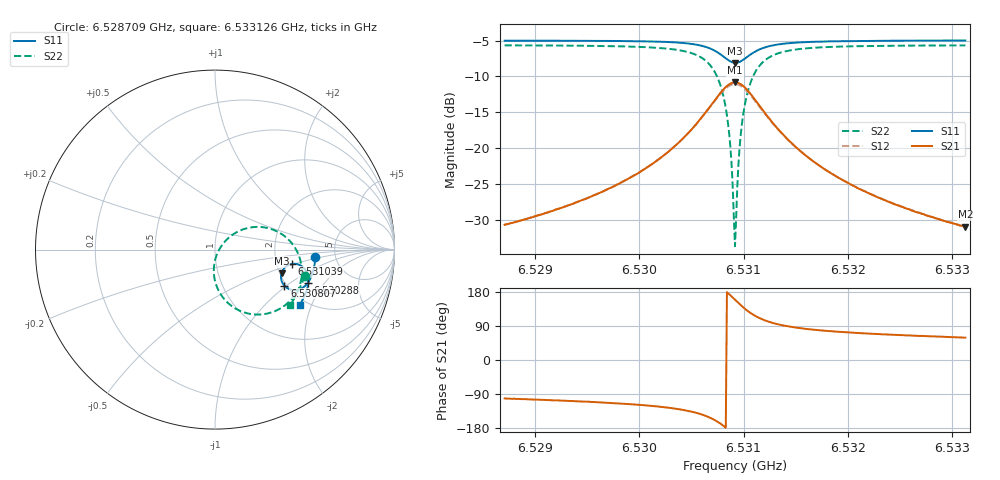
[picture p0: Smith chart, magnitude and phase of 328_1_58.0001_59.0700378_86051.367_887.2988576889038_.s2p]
#  HZ  S  RI  R  50.00
! Rohde & Schwarz Vector Network Analyzer
! Rohde-Schwarz,ZNB20-2Port,1311601062101988,3.16
! Created: UTC 3/21/2024, 1:04:58 AM
! freq[Hz]  re:S11  im:S11  re:S21  im:S21  re:S12  im:S12  re:S22  im:S22
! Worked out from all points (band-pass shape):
!   401 points, 6.528709 GHz to 6.533126 GHz, reference 50 ohm
!   highest |S21| = -10.82 dB at 6.530918 GHz (marker M1); lowest = -30.9 dB at 6.533126 GHz (marker M2)
!   |S21| within 3 dB of the highest: 6.530697 GHz to 6.531139 GHz (441.9 kHz wide, 0.00677 % of centre)
!   lowest |S11| = -8.1 dB at 6.530918 GHz (marker M3), VSWR 2.30, Z = 102 - j31.8 ohm
!   |S11| at or under -10 dB: nowhere
!   |S22| runs from -33.6 to -5.7 dB; largest |S21 - S12| = 0.011
!   S11 on the Smith chart (normalised r, x): 6.528709 GHz: 3.50, -0.43; 6.530288 GHz: 2.61, -1.38; 6.530807 GHz: 1.94, -0.97; 6.531039 GHz: 2.43, -0.48; 6.533126 GHz: 1.83, -1.65
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6.5287092e9  0.5599 -0.0419  -0.00575 -0.0287  -0.00636 -0.0285  0.5002 -0.1464
6.529449e9  0.5512 -0.1028  -0.0145 -0.0409  -0.0153 -0.0406  0.4717 -0.2135
6.5301888e9  0.5248 -0.1739  -0.0459 -0.0704  -0.0476 -0.0693  0.3953 -0.3063
6.5302882e9  0.5168 -0.1855  -0.0566 -0.0774  -0.0586 -0.0757  0.3724 -0.3228
6.5306415e9  0.4543 -0.2252  -0.1526 -0.0956  -0.1548 -0.0897  0.1898 -0.3573
6.5307409e9  0.4154 -0.2209  -0.2127 -0.0723  -0.2125 -0.0638  0.0868 -0.3097
6.5308072e9  0.3865 -0.2012  -0.2556 -0.028  -0.2517 -0.0188  0.02 -0.2286
6.5308624e9  0.3698 -0.1702  -0.2772 0.032  -0.2696 0.0395  -0.0066 -0.125
6.5308734e9  0.3685 -0.1627  -0.2783 0.0459  -0.27 0.0528  -0.00611 -0.1017
6.5308955e9  0.3678 -0.1471  -0.2765 0.0744  -0.2672 0.08  0.00143 -0.0546
6.5309065e9  0.3687 -0.1391  -0.2734 0.0889  -0.2639 0.0934  0.00875 -0.0317
6.5309176e9  0.3706 -0.1315  -0.2688 0.1028  -0.2592 0.1066  0.0185 -0.00944
6.5309286e9  0.3732 -0.1239  -0.263 0.1163  -0.2532 0.119  0.0303 0.0119
6.5309397e9  0.3766 -0.1168  -0.2558 0.1293  -0.2461 0.131  0.0442 0.0317
6.5309617e9  0.3855 -0.1039  -0.2381 0.1519  -0.2289 0.1523  0.0767 0.0664
6.5309838e9  0.3967 -0.0936  -0.2174 0.1701  -0.2089 0.1691  0.1139 0.0931
6.531039e9  0.4281 -0.08  -0.1604 0.1951  -0.1546 0.1926  0.2124 0.1253
6.5311163e9  0.4663 -0.0835  -0.0928 0.1933  -0.0898 0.1907  0.3261 0.1098
6.5312267e9  0.4989 -0.106  -0.0359 0.1638  -0.0343 0.1624  0.4188 0.0459
6.5316574e9  0.5204 -0.1817  0.0138 0.0811  0.0148 0.0808  0.4833 -0.13
6.5323972e9  0.5004 -0.2544  0.0165 0.0389  0.0172 0.0386  0.4557 -0.2454
6.5331259e9  0.4723 -0.3076  0.0146 0.0243  0.0151 0.0241  0.4202 -0.3074
